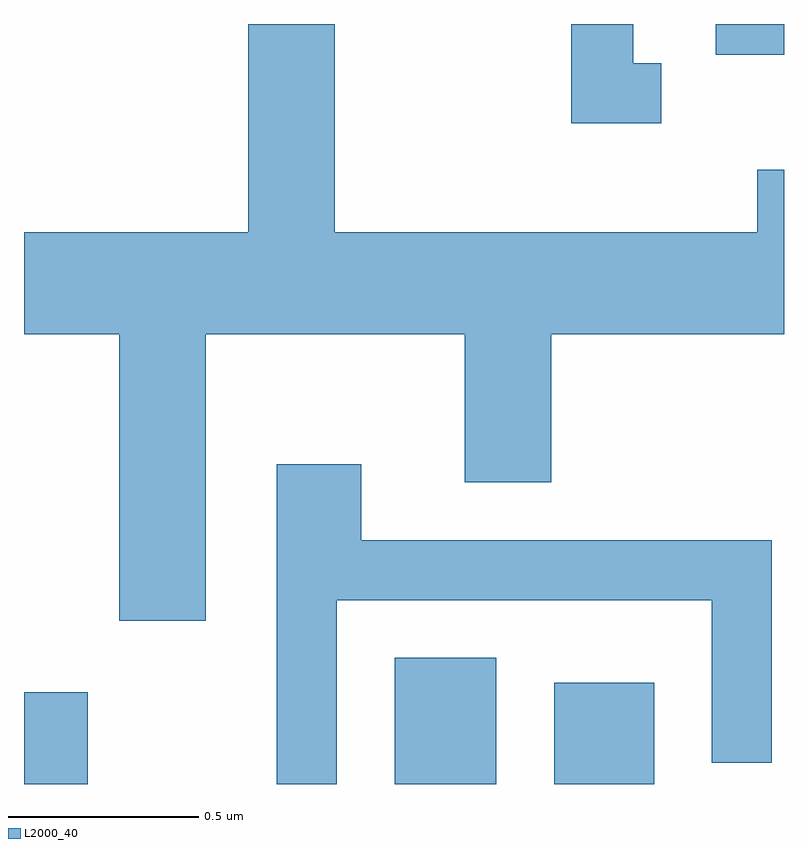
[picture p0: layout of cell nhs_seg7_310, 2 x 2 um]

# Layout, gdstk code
import gdstk
lib = gdstk.Library(unit=1e-6, precision=1e-09)
def R(c, l, rs):  # rectangles x0, y0, x1, y1
    for r in rs: c.add(gdstk.rectangle(r[:2], r[2:], *l))
def P(c, l, *ps):  # polygons
    for p in ps: c.add(gdstk.Polygon(p, *l))
L2000_40 = (2000, 40)

nhs_seg7_310 = lib.new_cell('nhs_seg7_310')
R(nhs_seg7_310, L2000_40, [(187.611,1704.252,187.779,1704.494), (188.586,1704.252,188.854,1704.584), (189.006,1704.252,189.269,1704.519), (189.431,1706.171,189.611,1706.252)])
P(nhs_seg7_310, L2000_40, [(189.288,1706.149),(189.214,1706.149),(189.214,1706.252),(189.051,1706.252),(189.051,1705.991),(189.288,1705.991)],
  [(188.089,1705.436),(188.771,1705.436),(188.771,1705.046),(188.999,1705.046),(188.999,1705.436),(189.611,1705.436),(189.611,1705.869),(189.541,1705.869),(189.541,1705.704),(188.429,1705.704),(188.429,1706.252),(188.201,1706.252),(188.201,1705.704),(187.611,1705.704),(187.611,1705.436),(187.861,1705.436),(187.861,1704.681),(188.089,1704.681)],
  [(188.434,1704.736),(189.421,1704.736),(189.421,1704.308),(189.579,1704.308),(189.579,1704.894),(188.499,1704.894),(188.499,1705.094),(188.276,1705.094),(188.276,1704.252),(188.434,1704.252)])

lib.write_gds('nhs_seg7_310.gds')
